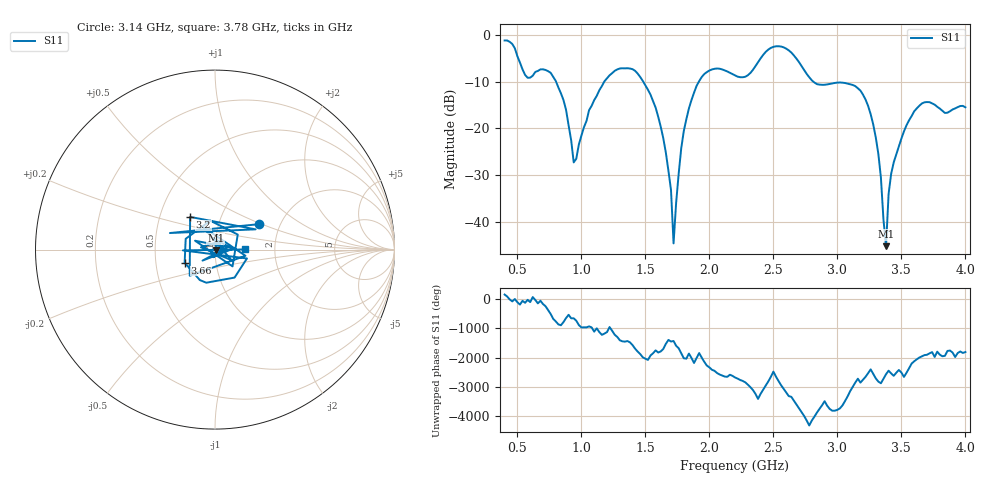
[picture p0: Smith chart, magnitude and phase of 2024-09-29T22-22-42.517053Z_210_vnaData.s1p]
!Created with skrf (http://scikit-rf.org).
# Hz S RI R 50.0
!freq ReS11 ImS11
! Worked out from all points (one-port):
!   181 points, 400 MHz to 4 GHz, reference 50 ohm
!   lowest |S11| = -45.2 dB at 3.38 GHz (marker M1), VSWR 1.01, Z = 50.4 - j0.409 ohm
!   |S11| at or under -10 dB: 801.6 MHz to 1.179 GHz (377.4 MHz wide, 38.1 % of centre); 1.482 GHz to 1.918 GHz (436 MHz wide, 25.6 % of centre); 2.811 GHz to end of sweep
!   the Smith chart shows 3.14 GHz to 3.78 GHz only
!   S11 on the Smith chart (normalised r, x): 3.14 GHz: 1.56, +0.48; 3.2 GHz: 0.71, +0.27; 3.66 GHz: 0.70, -0.11; 3.78 GHz: 1.41, +0.00
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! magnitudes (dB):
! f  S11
! 400 MHz  -1.2
! 760 MHz  -8.1
! 860 MHz  -14.0
! 940 MHz  -27.3
! 1.06 GHz  -16.1
! 1.3 GHz  -7.2
! 1.44 GHz  -8.3
! 1.58 GHz  -15.6
! 1.7 GHz  -33.2
! 1.72 GHz  -44.6
! 1.76 GHz  -29.7
! 1.82 GHz  -18.1
! 1.92 GHz  -9.9
! 2.2 GHz  -8.7
! 2.5 GHz  -2.6
! 2.66 GHz  -4.4
! 2.84 GHz  -10.6
! 3.1 GHz  -10.6
! 3.14 GHz  -11.0
! 3.2 GHz  -12.8
! 3.32 GHz  -25.5
! 3.38 GHz  -45.2
! 3.4 GHz  -34.0
! 3.42 GHz  -29.7
! 3.56 GHz  -18.3
! 3.66 GHz  -14.7
! 3.78 GHz  -15.4
! 4 GHz  -15.5
